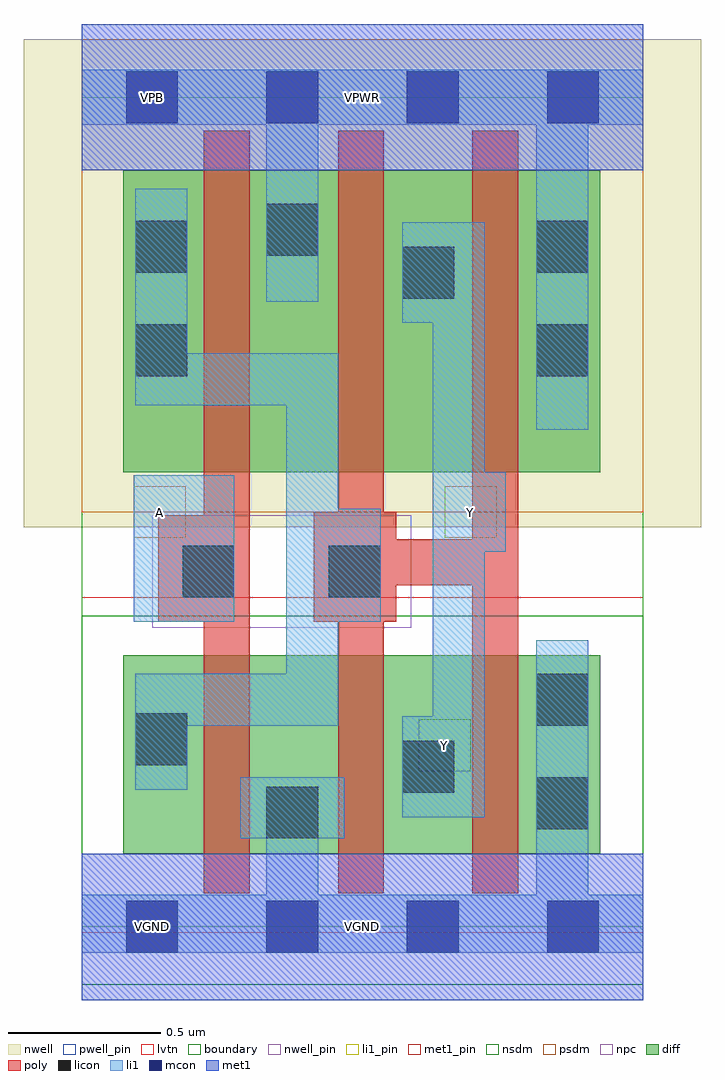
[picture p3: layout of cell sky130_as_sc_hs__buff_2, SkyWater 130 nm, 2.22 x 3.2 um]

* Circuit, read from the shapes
.subckt sky130_as_sc_hs__buff_2 A VGND VNB VPB VPWR Y
XM1 VGND A n1 VNB sky130_fd_pr__nfet_01v8_lvt w=0.65 l=0.15
XM2 Y n1 VGND VNB sky130_fd_pr__nfet_01v8_lvt w=0.65 l=0.15 m=2
XM3 VPWR A n1 VPB sky130_fd_pr__pfet_01v8 w=0.99 l=0.15
XM4 Y n1 VPWR VPB sky130_fd_pr__pfet_01v8 w=0.99 l=0.15 m=2
.ends

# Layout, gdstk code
import gdstk
lib = gdstk.Library(unit=1e-6, precision=1e-09)
def R(c, l, rs):  # rectangles x0, y0, x1, y1
    for r in rs: c.add(gdstk.rectangle(r[:2], r[2:], *l))
def A(c, l, x, y, w, h, nx, ny, dx, dy):  # array of equal rectangles
    R(c, l, [(x+i*dx, y+j*dy, x+i*dx+w, y+j*dy+h) for i in range(nx) for j in range(ny)])
nwell_pin = (64, 16)
nwell = (64, 20)
diff = (65, 20)
poly = (66, 20)
licon = (66, 44)
li1_pin = (67, 16)
li1 = (67, 20)
mcon = (67, 44)
met1_pin = (68, 16)
met1 = (68, 20)
nsdm = (93, 44)
psdm = (94, 20)
npc = (95, 20)
pwell_pin = (122, 16)
lvtn = (125, 44)
boundary = (235, 4)

sky130_as_sc_hs__buff_2 = lib.new_cell('sky130_as_sc_hs__buff_2')
R(sky130_as_sc_hs__buff_2, nwell_pin, [(0.145,2.635,0.315,2.805)])
R(sky130_as_sc_hs__buff_2, nwell, [(-0.19,1.31,2.03,2.91)])
R(sky130_as_sc_hs__buff_2, diff, [(0.135,0.24,1.7,0.89), (0.135,1.49,1.7,2.48)])
R(sky130_as_sc_hs__buff_2, poly, [(0.4,0.11,0.55,1), (0.84,0.11,0.99,1), (1.28,0.11,1.43,1.12), (0.25,1,0.55,1.35), (0.76,1,1.03,1.12), (0.76,1.12,1.43,1.27), (0.76,1.27,1.03,1.36), (1.28,1.27,1.43,2.61), (0.4,1.35,0.55,2.61), (0.84,1.36,0.99,2.61)])
R(sky130_as_sc_hs__buff_2, licon, [(0.605,0.29,0.775,0.46), (1.49,0.32,1.66,0.49), (1.05,0.44,1.22,0.61), (0.175,0.53,0.345,0.7), (1.49,0.66,1.66,0.83), (0.33,1.08,0.5,1.25), (0.81,1.08,0.98,1.25), (0.175,1.805,0.345,1.975), (1.49,1.805,1.66,1.975), (1.05,2.06,1.22,2.23), (0.175,2.145,0.345,2.315), (1.49,2.145,1.66,2.315), (0.605,2.2,0.775,2.37)])
R(sky130_as_sc_hs__buff_2, li1_pin, [(1.105,0.51,1.275,0.68), (0.17,1.275,0.34,1.445), (1.19,1.275,1.36,1.445)])
R(sky130_as_sc_hs__buff_2, li1, [(0,-0.085,1.84,0.105), (0.605,0.105,0.775,0.29), (1.49,0.105,1.66,0.94), (0.52,0.29,0.86,0.49), (1.05,0.36,1.32,0.69), (0.175,0.45,0.345,0.66), (0.175,0.66,0.84,0.83), (1.15,0.69,1.32,1.23), (0.67,0.83,0.84,1), (0.17,1,0.5,1.48), (0.67,1,0.98,1.37), (1.15,1.23,1.39,1.49), (0.67,1.37,0.84,1.71), (1.15,1.49,1.32,1.98), (1.49,1.63,1.66,2.63), (0.175,1.71,0.84,1.88), (0.175,1.88,0.345,2.42), (1.05,1.98,1.32,2.31), (0.605,2.05,0.775,2.63), (0,2.63,1.84,2.81)])
A(sky130_as_sc_hs__buff_2, mcon, 0.145, -0.085, 0.17, 0.17, 4, 2, 0.46, 2.72)
R(sky130_as_sc_hs__buff_2, met1_pin, [(0,-0.24,1.84,0.24), (0.145,-0.085,0.315,0.085), (0,2.48,1.84,2.96), (0.145,2.635,0.315,2.805)])
R(sky130_as_sc_hs__buff_2, met1, [(0,-0.24,1.84,0.24), (0,2.48,1.84,2.96)])
R(sky130_as_sc_hs__buff_2, nsdm, [(0,-0.19,1.84,1.02)])
R(sky130_as_sc_hs__buff_2, psdm, [(0,1.36,1.84,2.91)])
R(sky130_as_sc_hs__buff_2, npc, [(0.23,0.98,1.08,1.35)])
R(sky130_as_sc_hs__buff_2, pwell_pin, [(0.145,-0.085,0.315,0.085)])
R(sky130_as_sc_hs__buff_2, lvtn, [(0,-0.02,1.84,1.08)])
R(sky130_as_sc_hs__buff_2, boundary, [(0,0,1.84,2.72)])
sky130_as_sc_hs__buff_2.add(gdstk.Label('VPB', (0.23,2.72), layer=64, texttype=5))
sky130_as_sc_hs__buff_2.add(gdstk.Label('VPB', (0.23,2.72), layer=64, texttype=5))
sky130_as_sc_hs__buff_2.add(gdstk.Label('VGND', (0.23,0), layer=68, texttype=5))
sky130_as_sc_hs__buff_2.add(gdstk.Label('VGND', (0.92,0), layer=68, texttype=5))
sky130_as_sc_hs__buff_2.add(gdstk.Label('VPWR', (0.23,2.72), layer=68, texttype=5))
sky130_as_sc_hs__buff_2.add(gdstk.Label('VPWR', (0.92,2.72), layer=68, texttype=5))
sky130_as_sc_hs__buff_2.add(gdstk.Label('VNB', (0.23,0), layer=64, texttype=59))
sky130_as_sc_hs__buff_2.add(gdstk.Label('VNB', (0.23,0), layer=64, texttype=59))
sky130_as_sc_hs__buff_2.add(gdstk.Label('Y', (1.19,0.595), layer=67, texttype=5))
sky130_as_sc_hs__buff_2.add(gdstk.Label('Y', (1.19,0.595), layer=67, texttype=5))
sky130_as_sc_hs__buff_2.add(gdstk.Label('Y', (1.275,1.36), layer=67, texttype=5))
sky130_as_sc_hs__buff_2.add(gdstk.Label('Y', (1.275,1.36), layer=67, texttype=5))
sky130_as_sc_hs__buff_2.add(gdstk.Label('A', (0.255,1.36), layer=67, texttype=5))
sky130_as_sc_hs__buff_2.add(gdstk.Label('A', (0.255,1.36), layer=67, texttype=5))

lib.write_gds('sky130_as_sc_hs__buff_2.gds')
